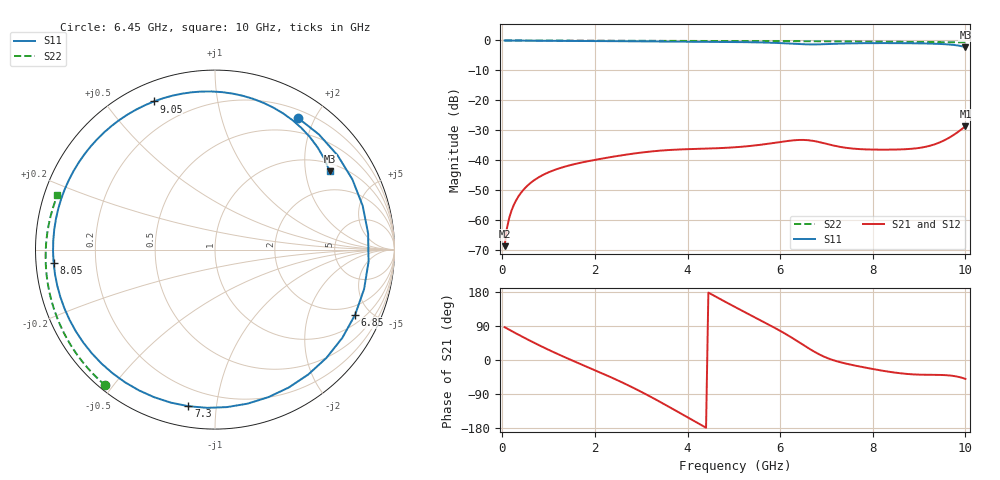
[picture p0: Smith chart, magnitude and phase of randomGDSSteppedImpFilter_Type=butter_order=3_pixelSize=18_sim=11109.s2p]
! freq	dB(S11)	phase(S11)	dB(S12)	phase(S12)
!  dB(S21)	phase(S21)	dB(S22)	phase(S22)
!S-par simulation data
#  GHz  S  DB  R 50
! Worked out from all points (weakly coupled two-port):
!   200 points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, 50 MHz to 10 GHz, reference 50 ohm
!   highest |S21| = -28.71 dB at 10 GHz (marker M1); lowest = -68.8 dB at 50 MHz (marker M2)
!   lowest |S11| = -2.2 dB at 10 GHz (marker M3), VSWR 7.83, Z = 62.9 + j136 ohm
!   |S11| at or under -10 dB: nowhere
!   |S22| runs from -0.6 to 0.0 dB; largest |S21 - S12| = 0
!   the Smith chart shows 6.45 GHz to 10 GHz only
!   S11 on the Smith chart (normalised r, x): 6.45 GHz: 0.30, +1.77; 6.85 GHz: 1.44, -4.04; 7.3 GHz: 0.10, -0.84; 8.05 GHz: 0.05, -0.04; 9.05 GHz: 0.08, +0.67; 10 GHz: 1.26, +2.72
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0.05  -0.00 -5.6  -68.85 86.6  -68.85 86.6  -0.00 -1.1
0.3  -0.05 -33.3  -53.45 70.0  -53.45 70.0  -0.01 -6.6
0.85  -0.11 -90.8  -45.24 35.6  -45.24 35.6  -0.02 -18.6
1.35  -0.16 -138.6  -42.23 7.3  -42.23 7.3  -0.04 -29.4
1.75  -0.18 -174.7  -40.73 -13.9  -40.73 -13.9  -0.05 -37.9
2.15  -0.22 149.2  -39.54 -34.9  -39.54 -34.9  -0.06 -46.2
2.65  -0.27 102.1  -38.27 -62.7  -38.27 -62.7  -0.07 -56.5
3.4  -0.36 26.0  -36.89 -110.0  -36.89 -110.0  -0.10 -71.6
3.8  -0.40 -14.8  -36.50 -137.4  -36.50 -137.4  -0.11 -79.4
4.3  -0.44 -62.9  -36.24 -171.9  -36.24 -171.9  -0.13 -89.1
5.05  -0.53 -129.0  -35.72 138.3  -35.72 138.3  -0.16 -103.2
5.8  -0.76 158.3  -34.44 90.3  -34.44 90.3  -0.20 -117.0
6.2  -1.03 103.4  -33.57 62.8  -33.57 62.8  -0.23 -124.3
6.45  -1.23 58.0  -33.29 43.7  -33.29 43.7  -0.24 -128.9
6.7  -1.33 6.0  -33.57 24.6  -33.57 24.6  -0.26 -133.5
6.85  -1.30 -24.9  -34.03 14.5  -34.03 14.5  -0.27 -136.2
7.3  -1.06 -99.7  -35.63 -5.9  -35.63 -5.9  -0.31 -144.5
8.05  -0.89 -175.4  -36.53 -24.9  -36.53 -24.9  -0.38 -158.6
8.35  -0.89 161.7  -36.54 -31.0  -36.54 -31.0  -0.42 -164.4
9.05  -0.98 112.5  -35.86 -38.8  -35.86 -38.8  -0.50 -178.4
9.55  -1.25 75.8  -33.38 -39.8  -33.38 -39.8  -0.57 171.1
10  -2.23 34.2  -28.71 -49.9  -28.71 -49.9  -0.64 161.1
